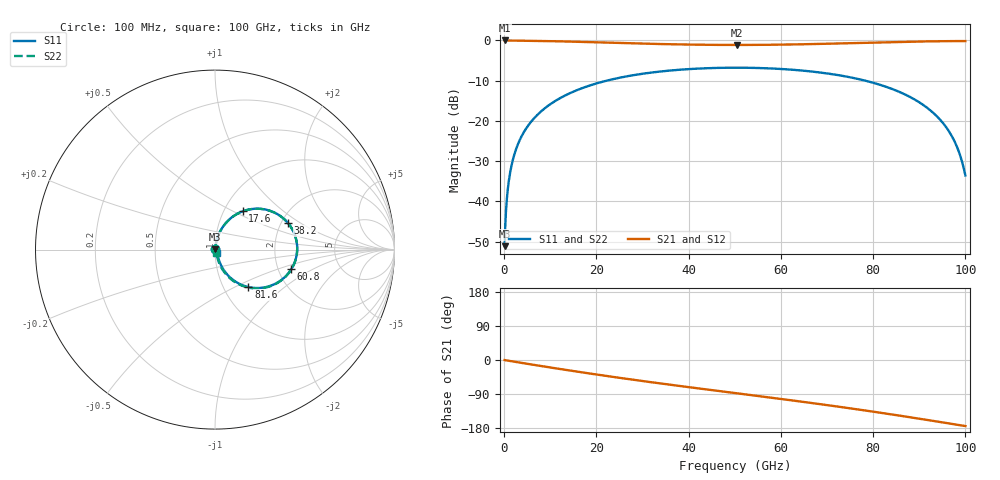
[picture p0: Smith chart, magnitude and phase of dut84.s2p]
! Touchstone file exported from HFSS 2026.1.0
!  File:  C:/ffzhzh/LocalFiles/Ansys_Project_Files/temp_train_RDL_84_1783498848_31944.aedt
!  Generated:  04:22:03 PM Jul  8, 2026
!  Design:  RDL
!  Project:  temp_train_RDL_84_1783498848_31944
! Variables:
!  h_bsmrdl = 2um
!  h_ox = 20um
!  h_rdl = 5um
!  h_sub = 80um
!  h_tmrdl = 4.48um
!  h_tsv = 80um
!  h_via = 3um
!  l_bsmrdl = 300um
!  l_sub = 986.2um
!  l_tmrdl = 586.2um
!  m_sub = 200um
!  pitch = 48.86um
!  r_tsv = 6um
!  s_tmrdl = 10um
!  w_bsmrdl = 18um
!  w_sub = 500um
!  w_tmrdl = 26.57um
!  x_tsv_center1 = 599.485um
!  x_tsv_center2 = 917.485um
!  x_tsv_center3 = 1530.255um
!  x_tsv_center4 = 1848.255um
!  x_tsv_center5 = 2461.025um
!  x_tsv_center6 = 2779.025um
# GHz S MA R 50.000000
! Terminal data exported
! Port[1] = TM_RDL1_1_T1
! Port[2] = TM_RDL1_1_T2
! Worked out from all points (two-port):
!   1000 points, 100 MHz to 100 GHz, reference 50 ohm
!   highest |S21| = -0.02 dB at 100 MHz (marker M1); lowest = -1.1 dB at 50.4 GHz (marker M2)
!   |S21| within 3 dB of the highest: start of sweep to end of sweep
!   lowest |S11| = -51.1 dB at 100 MHz (marker M3), VSWR 1.01, Z = 50.2 + j0.197 ohm
!   |S11| at or under -10 dB: start of sweep to 22.25 GHz; 78.27 GHz to end of sweep
!   |S22| runs from -51.1 to -6.8 dB; largest |S21 - S12| = 1.6e-14
!   S11 on the Smith chart (normalised r, x): 100 MHz: 1.00, +0.00; 17.6 GHz: 1.22, +0.56; 38.2 GHz: 2.17, +0.79; 60.8 GHz: 2.36, -0.64; 81.6 GHz: 1.31, -0.59; 100 GHz: 1.03, -0.03
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0.1  0.002778 44.9  0.998 -0.2  0.998 -0.2  0.002778 44.9
! Gamma 0 0 0 0
! Port Impedance 50 0 50 0
0.8  0.01429 78.1  0.9974 -1.6  0.9974 -1.6  0.01429 78.1
1.4  0.02449 80.6  0.9969 -2.9  0.9969 -2.9  0.02449 80.6
2.5  0.04313 80.4  0.9957 -5.1  0.9957 -5.1  0.04313 80.4
4  0.06802 78.3  0.9934 -8.1  0.9934 -8.1  0.06802 78.3
6.2  0.1033 74.5  0.989 -12.4  0.989 -12.4  0.1033 74.4
9  0.1463 69.4  0.9822 -17.8  0.9822 -17.8  0.1463 69.4
16.8  0.2538 55.5  0.958 -32.5  0.958 -32.5  0.2538 55.4
17.6  0.2636 54.1  0.9552 -33.9  0.9552 -33.9  0.2637 54.0
33.4  0.4078 27.6  0.9022 -61.1  0.9022 -61.1  0.4079 27.5
38.2  0.4326 20.1  0.8906 -68.8  0.8906 -68.8  0.4327 19.9
50.1  0.4581 1.9  0.8777 -87.3  0.8777 -87.3  0.4582 1.7
50.4  0.4581 1.4  0.8777 -87.8  0.8777 -87.8  0.4582 1.2
60.8  0.4386 -14.4  0.8869 -104.0  0.8869 -104.0  0.4389 -14.8
66.7  0.4103 -23.7  0.8996 -113.5  0.8996 -113.5  0.4105 -24.1
81.6  0.2796 -48.2  0.9452 -139.2  0.9452 -139.2  0.2798 -49.0
83.4  0.2581 -51.3  0.9508 -142.5  0.9508 -142.5  0.2583 -52.2
89.9  0.1716 -62.1  0.9683 -154.7  0.9683 -154.7  0.1718 -63.5
94.7  0.1007 -68.6  0.977 -164.0  0.977 -164.0  0.1007 -71.2
97.8  0.05333 -68.8  0.9799 -170.0  0.9799 -170.0  0.05299 -73.8
98.8  0.03818 -65.7  0.9804 -172.0  0.9804 -172.0  0.03752 -72.8
100  0.02097 -52.6  0.9807 -174.4  0.9807 -174.4  0.01927 -65.4
